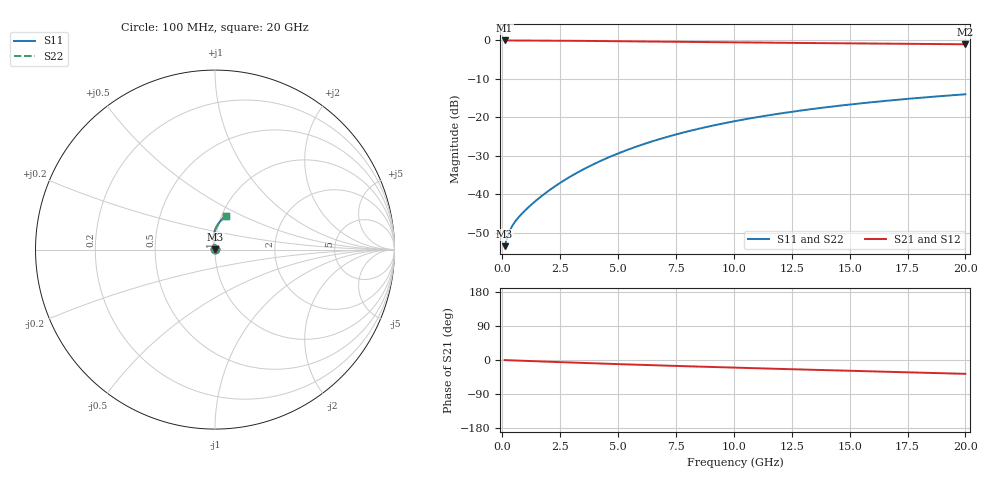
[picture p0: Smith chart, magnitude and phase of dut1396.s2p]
! Touchstone file exported from HFSS 2024.1.0
!  File:  C:/UserFiles/LocalFiles/RDL_TSV_Batchsim/temp_RDL_top_1396_1780367918.aedt
!  Generated:  10:40:42 AM Jun  2, 2026
!  Design:  RDL_top
!  Project:  temp_RDL_top_1396_1780367918
!  Setup:  Setup1
!  Solution:  Sweep
! Variables:
!  dtsv = 10.80580581um
!  hbump = 3um
!  htsv = 72.9um
!  ldown = 100um
!  lrdl = 634.13um
!  p = 40
!  p1 = 40.85um
!  rhole = 1um
!  t = 450um
!  tdown = 3.915915916um
!  trdl = 4.8um
!  wdown = 15.38538539um
!  wrdl = 28.36um
# GHz S MA R 50.000000
! Terminal data exported
! Port[1] = Box2_T1
! Port[2] = Box2_T2
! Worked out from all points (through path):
!   200 points, 100 MHz to 20 GHz, reference 50 ohm
!   highest |S21| = -0.02 dB at 100 MHz (marker M1); lowest = -1.0 dB at 20 GHz (marker M2)
!   group delay of S21, straight-line fit = 4.97 ps
!   lowest |S11| = -53.6 dB at 100 MHz (marker M3), VSWR 1.00, Z = 50.2 + j0.0852 ohm
!   |S11| at or under -10 dB: start of sweep to end of sweep
!   |S22| runs from -53.6 to -14.0 dB; largest |S21 - S12| = 2.6e-15
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0.1  0.0021 23.8  0.9981 -0.2  0.9981 -0.2  0.0021 23.8
! Gamma 0 0 0 0
! Port Impedance 50 0 50 0
0.2  0.002647 37.1  0.9978 -0.5  0.9978 -0.5  0.002647 37.1
0.3  0.003211 43.7  0.9975 -0.7  0.9975 -0.7  0.003211 43.7
0.4  0.003714 47.9  0.9973 -0.9  0.9973 -0.9  0.003714 47.9
0.6  0.004577 54.4  0.9969 -1.4  0.9969 -1.4  0.004577 54.4
0.8  0.005375 60.1  0.9965 -1.8  0.9965 -1.8  0.005375 60.1
1  0.006189 65.3  0.9961 -2.3  0.9961 -2.3  0.006189 65.3
1.5  0.008439 75.9  0.9948 -3.4  0.9948 -3.4  0.008439 75.9
2.1  0.01161 84.8  0.9926 -4.8  0.9926 -4.8  0.01161 84.8
2.8  0.01595 91.5  0.9894 -6.3  0.9894 -6.3  0.01595 91.5
3.5  0.02097 95.7  0.9856 -7.8  0.9856 -7.8  0.02097 95.8
4.2  0.02663 98.3  0.9813 -9.3  0.9813 -9.3  0.02663 98.3
5  0.03379 99.7  0.9761 -10.9  0.9761 -10.9  0.03379 99.7
5.9  0.04259 100.0  0.9699 -12.6  0.9699 -12.6  0.0426 100.0
6.8  0.05203 99.4  0.9637 -14.3  0.9637 -14.3  0.05205 99.4
8.4  0.06987 97.0  0.9529 -17.3  0.9529 -17.3  0.0699 97.0
10.1  0.08962 93.5  0.9421 -20.3  0.9421 -20.3  0.08966 93.6
11.7  0.1084 89.9  0.9325 -23.0  0.9325 -23.0  0.1084 89.9
13.4  0.1281 86.0  0.9229 -25.9  0.9229 -25.9  0.1282 86.0
15  0.1463 82.3  0.9144 -28.5  0.9144 -28.5  0.1463 82.3
16.7  0.1649 78.5  0.9058 -31.2  0.9058 -31.2  0.165 78.5
20  0.1989 71.5  0.8901 -36.5  0.8901 -36.5  0.199 71.5
